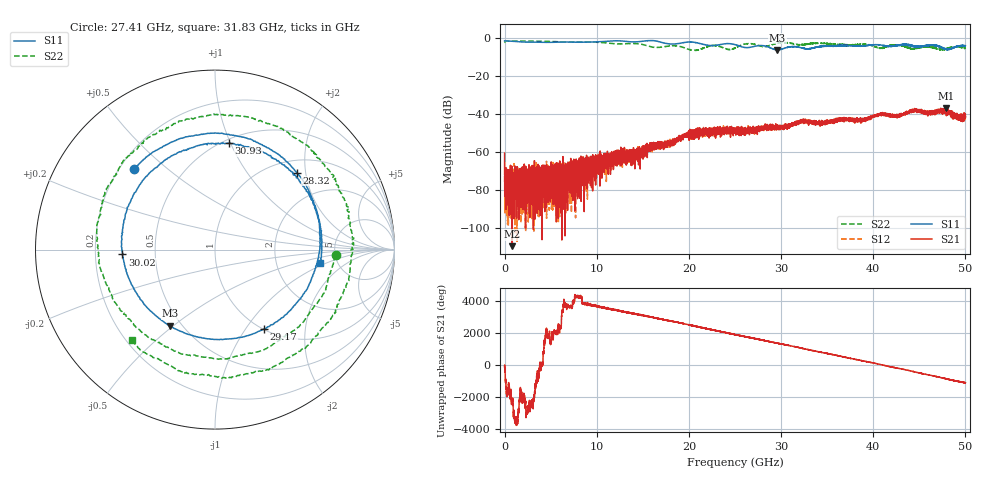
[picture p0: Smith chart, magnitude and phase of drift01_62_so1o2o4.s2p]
!Created with skrf (http://scikit-rf.org).
# Hz S RI R 50.0
!freq ReS11 ImS11 ReS21 ImS21 ReS12 ImS12 ReS22 ImS22
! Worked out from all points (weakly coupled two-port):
!   10001 points, 300 kHz to 50 GHz, reference 50 ohm
!   highest |S21| = -36.89 dB at 47.9 GHz (marker M1); lowest = -109.8 dB at 830.3 MHz (marker M2)
!   lowest |S11| = -6.2 dB at 29.61 GHz (marker M3), VSWR 2.94, Z = 21.7 - j24.3 ohm
!   |S11| at or under -10 dB: nowhere
!   |S22| runs from -6.4 to -1.4 dB; largest |S21 - S12| = 0.0037
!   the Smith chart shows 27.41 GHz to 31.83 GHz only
!   S11 on the Smith chart (normalised r, x): 27.41 GHz: 0.26, +0.39; 28.32 GHz: 1.26, +1.78; 29.17 GHz: 1.00, -1.22; 30.02 GHz: 0.32, -0.02; 30.93 GHz: 0.53, +0.99; 31.83 GHz: 3.66, -0.86
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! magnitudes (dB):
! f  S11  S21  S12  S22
! 300 kHz  -1.3  -60.6  -68.7  -2.1
! 255.3 MHz  -1.4  -74.5  -85.0  -1.4
! 830.3 MHz  -1.5  -109.8  -82.7  -1.5
! 5.875 GHz  -2.0  -73.0  -78.2  -1.8
! 8.335 GHz  -2.0  -65.5  -68.5  -1.8
! 16.67 GHz  -1.6  -57.8  -57.1  -4.8
! 20.23 GHz  -1.9  -51.5  -49.4  -6.1
! 22.62 GHz  -3.8  -48.7  -48.2  -3.8
! 25 GHz  -3.3  -48.9  -48.8  -5.0
! 27.41 GHz  -3.9  -48.2  -47.7  -3.4
! 28.32 GHz  -4.1  -47.1  -48.0  -4.4
! 29.17 GHz  -5.7  -46.1  -45.6  -3.0
! 29.61 GHz  -6.2  -46.5  -47.4  -2.5
! 30.02 GHz  -5.7  -46.4  -46.7  -2.3
! 30.93 GHz  -4.5  -45.7  -45.9  -2.5
! 31.83 GHz  -4.6  -43.8  -44.3  -3.3
! 33.34 GHz  -5.2  -44.3  -43.7  -2.7
! 41.67 GHz  -4.4  -40.3  -40.5  -3.9
! 44.49 GHz  -4.0  -37.8  -38.0  -5.3
! 46.52 GHz  -3.7  -39.4  -39.5  -5.1
! 47.9 GHz  -5.7  -36.9  -38.8  -5.6
! 50 GHz  -3.8  -40.2  -41.1  -5.2
